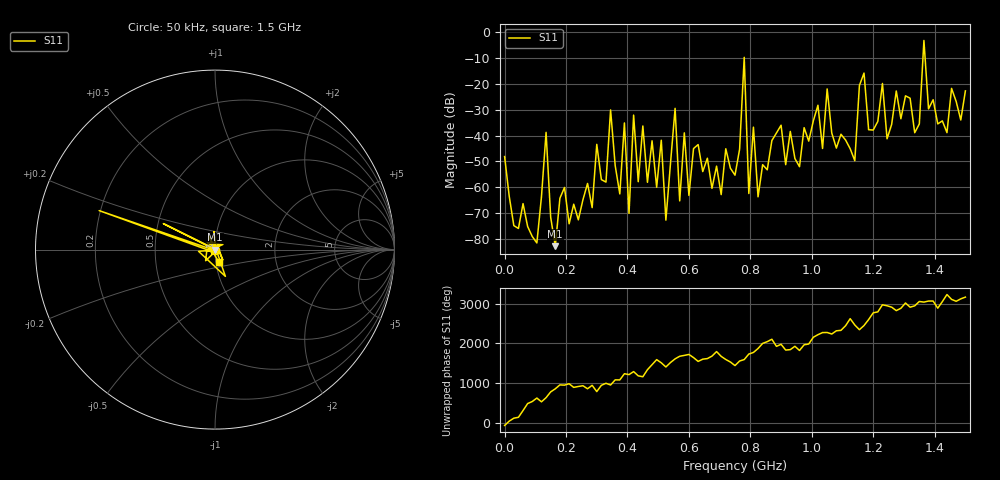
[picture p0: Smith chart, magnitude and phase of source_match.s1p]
! Created with skrf 1.8.0 (http://scikit-rf.org).
# Hz S RI R 50.0
!freq ReS11 ImS11
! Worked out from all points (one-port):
!   101 points, 50 kHz to 1.5 GHz, reference 50 ohm
!   lowest |S11| = -82.7 dB at 165 MHz (marker M1), VSWR 1.00, Z = 50 + j0.00507 ohm
!   |S11| at or under -10 dB: start of sweep to 780 MHz; 780.1 MHz to 1.362 GHz (581.8 MHz wide, 54.3 % of centre); 1.369 GHz to end of sweep
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50000  0.00151 -0.00362
1.050465e8  -1.03e-05 -8.41e-05
1.350455e8  0.000623 -0.0115
1.650445e8  -5.3e-05 5.07e-05
1.950435e8  -0.000657 -0.000747
2.850405e8  -0.000294 -0.000281
3.450385e8  -0.019 -0.0246
3.750375e8  0.000747 -9.33e-07
3.90037e8  -0.016 0.00695
4.050365e8  -0.000223 0.000225
4.20036e8  -0.0214 -0.0125
4.350355e8  -0.000286 0.00125
5.10033e8  0.00263 0.00768
5.250325e8  0.000194 -0.000129
5.550315e8  -0.033 0.005
5.70031e8  -0.000304 -0.000457
5.850305e8  -0.00231 -0.011
7.50025e8  0.00172 4.94e-05
7.80024e8  -0.2879 0.145
7.950235e8  0.000292 -0.000703
8.10023e8  0.0128 -0.00669
8.250225e8  0.000209 0.000623
9.450185e8  -0.00217 0.00286
1.050015e9  -0.0341 0.0714
1.125012e9  -0.00132 0.0054
1.170011e9  0.058 -0.1492
1.320006e9  0.044 0.0285
1.5e9  0.0213 -0.0693
